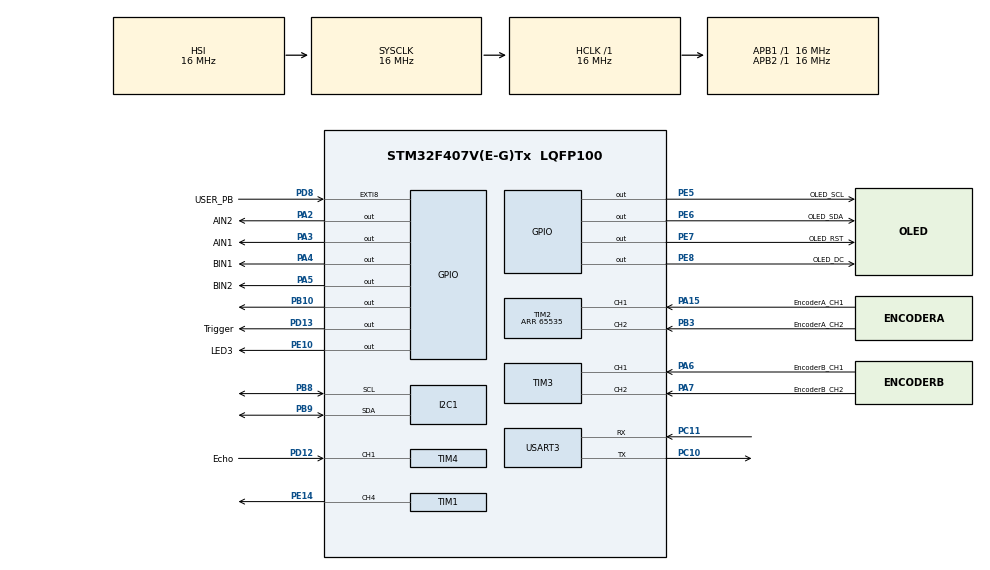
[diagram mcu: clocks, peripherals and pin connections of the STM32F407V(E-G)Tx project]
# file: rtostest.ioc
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FREERTOS.Tasks01=defaultTask,24,128,StartDefaultTask,Default,NULL,Dynamic,NULL,NULL;motorTask,8,128,StartMotorTask,Default,NULL,Dynamic,NULL,NULL;oledTask,8,128,StartOledTask,Default,NULL,Dynamic,NULL,NULL;rpiTask,8,128,StartRpiTask,Default,NULL,Dynamic,NULL,NULL;gyroTask,9,128,StartGyroTask,Default,NULL,Dynamic,NULL,NULL;bulleyesTask,8,128,StartBulleyesTask,Default,NULL,Dynamic,NULL,NULL;encoderRightTas,8,128,StartEncoderRightTask,Default,NULL,Dynamic,NULL,NULL;encoderLeftTask,8,128,StartEncoderLeftTask,Default,NULL,Dynamic,NULL,NULL
FREERTOS.configUSE_NEWLIB_REENTRANT=1
Mcu.Family=STM32F4
Mcu.Name=STM32F407V(E-G)Tx
Mcu.Package=LQFP100
NVIC.PriorityGroup=NVIC_PRIORITYGROUP_4
NVIC.RCC_IRQn=true\:5\:0\:false\:false\:true\:true\:true\:false\:true
NVIC.TIM1_BRK_TIM9_IRQn=true\:5\:0\:false\:false\:true\:false\:false\:true\:true
NVIC.TIM1_UP_TIM10_IRQn=true\:5\:0\:false\:false\:true\:false\:false\:true\:true
NVIC.TIM4_IRQn=true\:5\:0\:false\:false\:true\:true\:true\:true\:true
NVIC.TIM8_TRG_COM_TIM14_IRQn=true\:5\:0\:false\:false\:true\:false\:false\:true\:true
NVIC.USART3_IRQn=true\:5\:0\:false\:false\:true\:true\:true\:true\:true
PA15.GPIO_Label=EncoderA_CH1
PA15.Signal=S_TIM2_CH1_ETR
PA2.GPIO_Label=AIN2
PA2.GPIO_Speed=GPIO_SPEED_FREQ_HIGH
PA2.Signal=GPIO_Output
PA3.GPIO_Label=AIN1
PA3.GPIO_Speed=GPIO_SPEED_FREQ_HIGH
PA3.Signal=GPIO_Output
PA4.GPIO_Label=BIN1
PA4.GPIO_Speed=GPIO_SPEED_FREQ_HIGH
PA4.Signal=GPIO_Output
PA5.GPIO_Label=BIN2
PA5.GPIO_Speed=GPIO_SPEED_FREQ_HIGH
PA5.Signal=GPIO_Output
PA6.GPIO_Label=EncoderB_CH1
PA6.Signal=S_TIM3_CH1
PA7.GPIO_Label=EncoderB_CH2
PA7.Signal=S_TIM3_CH2
PB10.Signal=GPIO_Output
PB3.GPIO_Label=EncoderA_CH2
PB3.Signal=S_TIM2_CH2
PB8.Mode=I2C
PB8.Signal=I2C1_SCL
PB9.Mode=I2C
PB9.Signal=I2C1_SDA
PC10.Mode=Asynchronous
PC10.Signal=USART3_TX
PC11.Mode=Asynchronous
PC11.Signal=USART3_RX
PC6.GPIO_Label=PWMA
PC6.Signal=S_TIM8_CH1
PC7.GPIO_Label=PWMB
PC7.Signal=S_TIM8_CH2
PD12.GPIO_Label=Echo
PD12.Signal=S_TIM4_CH1
PD13.GPIO_Label=Trigger
PD13.Signal=GPIO_Output
PD8.GPIO_Label=USER_PB
PD8.Signal=GPXTI8
PE10.GPIO_Label=LED3
PE10.Signal=GPIO_Output
PE14.Signal=S_TIM1_CH4
PE5.GPIO_Label=OLED_SCL
PE5.Signal=GPIO_Output
PE6.GPIO_Label=OLED_SDA
PE6.Signal=GPIO_Output
PE7.GPIO_Label=OLED_RST
PE7.Signal=GPIO_Output
PE8.GPIO_Label=OLED_DC
PE8.Signal=GPIO_Output
PH0-OSC_IN.Mode=HSE-External-Oscillator
PH0-OSC_IN.Signal=RCC_OSC_IN
PH1-OSC_OUT.Mode=HSE-External-Oscillator
PH1-OSC_OUT.Signal=RCC_OSC_OUT
ProjectManager.HeapSize=0x200
ProjectManager.StackSize=0x400
ProjectManager.TargetToolchain=STM32CubeIDE
RCC.AHBFreq_Value=16000000
RCC.APB1Freq_Value=16000000
RCC.APB2Freq_Value=16000000
RCC.CortexFreq_Value=16000000
RCC.HSE_VALUE=25000000
RCC.HSI_VALUE=16000000
RCC.LSE_VALUE=32768
RCC.SYSCLKFreq_VALUE=16000000
RCC.VCOOutputFreq_Value=192000000
SH.S_TIM1_CH4.0=TIM1_CH4,PWM Generation4 CH4
SH.S_TIM2_CH1_ETR.0=TIM2_CH1,Encoder_Interface
SH.S_TIM2_CH2.0=TIM2_CH2,Encoder_Interface
SH.S_TIM3_CH1.0=TIM3_CH1,Encoder_Interface
SH.S_TIM3_CH2.0=TIM3_CH2,Encoder_Interface
SH.S_TIM4_CH1.0=TIM4_CH1,Input_Capture1_from_TI1
SH.S_TIM8_CH1.0=TIM8_CH1
SH.S_TIM8_CH2.0=TIM8_CH2
TIM1.AutoReloadPreload=TIM_AUTORELOAD_PRELOAD_ENABLE
TIM1.Channel-PWM\ Generation4\ CH4=TIM_CHANNEL_4
TIM1.Period=1000
TIM1.Prescaler=160
TIM2.EncoderMode=TIM_ENCODERMODE_TI12
TIM2.IC1Filter=10
TIM2.IC2Filter=10
TIM2.Period=65535
TIM3.EncoderMode=TIM_ENCODERMODE_TI12
TIM3.IC1Filter=10
TIM3.IC2Filter=10
TIM4.Channel-Input_Capture1_from_TI1=TIM_CHANNEL_1
TIM8.Channel-PWM\ Generation1\ No\ Output=TIM_CHANNEL_1
TIM8.Channel-PWM\ Generation2\ No\ Output=TIM_CHANNEL_2
TIM8.Period=7199
USART3.VirtualMode=VM_ASYNC
VP_FREERTOS_VS_CMSIS_V2.Mode=CMSIS_V2
VP_TIM1_VS_ClockSourceINT.Mode=Internal
VP_TIM8_VS_ClockSourceINT.Mode=Internal
VP_TIM8_VS_no_output1.Mode=PWM Generation1 No Output
VP_TIM8_VS_no_output2.Mode=PWM Generation2 No Output
board=custom

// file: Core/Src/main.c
/* USER CODE BEGIN Header */
/**
  ******************************************************************************
  * @file           : main.c
  * @brief          : Main program body
  ******************************************************************************
  * @attention
  *
  * Copyright (c) 2023 STMicroelectronics.
  * All rights reserved.
  *
  * This software is licensed under terms that can be found in the LICENSE file
  * in the root directory of this software component.
  * If no LICENSE file comes with this software, it is provided AS-IS.
  *
  ******************************************************************************
  */
/* USER CODE END Header */
#include "main.h"
#include "cmsis_os.h"

/* USER CODE BEGIN Includes */
#include "oled.h"

/* USER CODE END Includes */

I2C_HandleTypeDef hi2c1;

TIM_HandleTypeDef htim1;
TIM_HandleTypeDef htim2;
TIM_HandleTypeDef htim3;
TIM_HandleTypeDef htim4;
TIM_HandleTypeDef htim8;

UART_HandleTypeDef huart3;

/* Definitions for defaultTask */
osThreadId_t defaultTaskHandle;
const osThreadAttr_t defaultTask_attributes = {
  .name = "defaultTask",
  .stack_size = 128 * 4,
  .priority = (osPriority_t) osPriorityNormal,
};
/* Definitions for motorTask */
osThreadId_t motorTaskHandle;
const osThreadAttr_t motorTask_attributes = {
  .name = "motorTask",
  .stack_size = 128 * 4,
  .priority = (osPriority_t) osPriorityLow,
};
/* Definitions for oledTask */
osThreadId_t oledTaskHandle;
const osThreadAttr_t oledTask_attributes = {
  .name = "oledTask",
  .stack_size = 128 * 4,
  .priority = (osPriority_t) osPriorityLow,
};
/* Definitions for rpiTask */
osThreadId_t rpiTaskHandle;
const osThreadAttr_t rpiTask_attributes = {
  .name = "rpiTask",
  .stack_size = 128 * 4,
  .priority = (osPriority_t) osPriorityLow,
};
/* Definitions for gyroTask */
osThreadId_t gyroTaskHandle;
const osThreadAttr_t gyroTask_attributes = {
  .name = "gyroTask",
  .stack_size = 128 * 4,
  .priority = (osPriority_t) osPriorityLow1,
};
/* Definitions for bulleyesTask */
osThreadId_t bulleyesTaskHandle;
const osThreadAttr_t bulleyesTask_attributes = {
  .name = "bulleyesTask",
  .stack_size = 128 * 4,
  .priority = (osPriority_t) osPriorityLow,
};
/* Definitions for encoderRightTas */
osThreadId_t encoderRightTasHandle;
const osThreadAttr_t encoderRightTas_attributes = {
  .name = "encoderRightTas",
  .stack_size = 128 * 4,
  .priority = (osPriority_t) osPriorityLow,
};
/* Definitions for encoderLeftTask */
osThreadId_t encoderLeftTaskHandle;
const osThreadAttr_t encoderLeftTask_attributes = {
  .name = "encoderLeftTask",
  .stack_size = 128 * 4,
  .priority = (osPriority_t) osPriorityLow,
};

void SystemClock_Config(void);
static void MX_GPIO_Init(void);
static void MX_TIM1_Init(void);
static void MX_TIM2_Init(void);
static void MX_TIM3_Init(void);
static void MX_TIM8_Init(void);
static void MX_USART3_UART_Init(void);
static void MX_I2C1_Init(void);
static void MX_TIM4_Init(void);
void StartDefaultTask(void *argument);
void StartMotorTask(void *argument);
void StartOledTask(void *argument);
void StartRpiTask(void *argument);
void StartGyroTask(void *argument);
void StartBulleyesTask(void *argument);
void StartEncoderRightTask(void *argument);
void StartEncoderLeftTask(void *argument);

/* USER CODE BEGIN 0 */

// communication
uint8_t aRxBuffer[20] = {0};
uint8_t old_Buff[20] = {0};
uint8_t old_Buff1[20] = {0};

int flagDone = 0;
char key;
char direction;
int magnitude = 0;
int flagRead = 0;
int flagWrite = 0;

// movement
uint16_t pwmVal_servo = 149;
uint16_t pwmVal_R = 0;
uint16_t pwmVal_L = 0;
int times_acceptable=0;
int e_brake = 0;

// MotorEncoder
int32_t rightEncoderVal = 0, leftEncoderVal = 0;
int32_t rightTarget = 0, leftTarget = 0;
double target_angle=0;

// Gyro
double total_angle=0;
uint8_t gyroBuffer[20];
uint8_t ICMAddress = 0x68;

// Oled
char instructBuffer[40][5]={0};

//UserButton
int start = 0;

//Ultrasound
int Is_First_Captured = 0;
int32_t IC_Val1 = 0;
int32_t IC_Val2 = 0;
double Difference =0;
double uDistance = 0;

/* USER CODE END 0 */

int main(void)
{

  /* MCU Configuration--------------------------------------------------------*/

  /* Reset of all peripherals, Initializes the Flash interface and the Systick. */
  HAL_Init();

  /* Configure the system clock */
  SystemClock_Config();

  /* Initialize all configured peripherals */
  MX_GPIO_Init();
  MX_TIM1_Init();
  MX_TIM2_Init();
  MX_TIM3_Init();
  MX_TIM8_Init();
  MX_USART3_UART_Init();
  MX_I2C1_Init();
  MX_TIM4_Init();
  /* USER CODE BEGIN 2 */
  OLED_Init();

  // for debug
  //HAL_UART_Receive_IT(&huart3, (uint8_t *) aRxBuffer, 1);
  // for real task
  HAL_UART_Receive_IT(&huart3, (uint8_t *) aRxBuffer, 5);

//  defaultTaskHandle = osThreadNew(StartDefaultTask, NULL, &defaultTask_attributes);
//
//  /* creation of MotorTask */
//  motorTaskHandle = osThreadNew(StartMotorTask, NULL, &motorTask_attributes);
//
//  /* creation of oledTask */
//  oledTaskHandle = osThreadNew(StartOledTask, NULL, &oledTask_attributes);
//
//  /* creation of rpiTask */
//  rpiTaskHandle = osTreadNew(StartRpiTask, NULL, &rpiTask_attributes);
//
//  /* creation of gyroTask */
//  gyroTaskHandle = osTreadNew(StartGyroTask, NULL, &gyroTask_attributes);
//
//  /* creation of bulleyesTask */
//  bulleyesTaskHandle = osThreadNew(StartBulleyesTask, NULL, &bulleyesTask_attributes);
//
//	/* creation of encoderRightTask */
//	encoderRightTasHandle = osThreadNew(StartEncoderRightTask, NULL, &encoderRightTas_attributes);
//
//  /* creation of encoderLeftTask */
//  encoderLeftTaskHandle = osThreadNew(StartEncoderLeftTask, NULL, &encoderLeftTask_attributes);

    defaultTaskHandle = osThreadNew(StartDefaultTask, NULL, &defaultTask_attributes);

    /* creation of MotorTask */
    motorTaskHandle = osThreadNew(StartMotorTask, NULL, &motorTask_attributes);

    /* creation of oledTask */
    oledTaskHandle = osThreadNew(StartOledTask, NULL, &oledTask_attributes);

    /* creation of rpiTask */
    rpiTaskHandle = osThreadNew(StartRpiTask, NULL, &rpiTask_attributes);

    /* creation of gyroTask */
    gyroTaskHandle = osThreadNew(StartGyroTask, NULL, &gyroTask_attributes);

    /* creation of bulleyesTask */
    bulleyesTaskHandle = osThreadNew(StartBulleyesTask, NULL, &bulleyesTask_attributes);

	/* creation of encoderRightTas */
	encoderRightTasHandle = osThreadNew(StartEncoderRightTask, NULL, &encoderRightTas_attributes);

	/* creation of encoderLeftTask */
	encoderLeftTaskHandle = osThreadNew(StartEncoderLeftTask, NULL, &encoderLeftTask_attributes);

  /* USER CODE END 2 */

  /* Init scheduler */
  osKernelInitialize();
/* USER CODE BEGIN Header */
/**
  ******************************************************************************
  * @file           : main.c
  * @brief          : Main program body
  ******************************************************************************
  * @attention
  *
  * Copyright (c) 2023 STMicroelectronics.
  * All rights reserved.
  *
  * This software is licensed under terms that can be found in the LICENSE file
  * in the root directory of this software component.
  * If no LICENSE file comes with this software, it is provided AS-IS.
  *
  ******************************************************************************
  */
/* USER CODE END Header */

  /* Start scheduler */
  osKernelStart();

  /* We should never get here as control is now taken by the scheduler */
  /* Infinite loop */
  while (1)
  {

  }
}

void SystemClock_Config(void)
{
  RCC_OscInitTypeDef RCC_OscInitStruct = {0};
  RCC_ClkInitTypeDef RCC_ClkInitStruct = {0};

  /** Configure the main internal regulator output voltage
  */
  __HAL_RCC_PWR_CLK_ENABLE();
  __HAL_PWR_VOLTAGESCALING_CONFIG(PWR_REGULATOR_VOLTAGE_SCALE1);

  /** Initializes the RCC Oscillators according to the specified parameters
  * in the RCC_OscInitTypeDef structure.
  */
  RCC_OscInitStruct.OscillatorType = RCC_OSCILLATORTYPE_HSI;
  RCC_OscInitStruct.HSIState = RCC_HSI_ON;
  RCC_OscInitStruct.HSICalibrationValue = RCC_HSICALIBRATION_DEFAULT;
  RCC_OscInitStruct.PLL.PLLState = RCC_PLL_NONE;
  if (HAL_RCC_OscConfig(&RCC_OscInitStruct) != HAL_OK)
  {
    Error_Handler();
  }

  /** Initializes the CPU, AHB and APB buses clocks
  */
  RCC_ClkInitStruct.ClockType = RCC_CLOCKTYPE_HCLK|RCC_CLOCKTYPE_SYSCLK
                              |RCC_CLOCKTYPE_PCLK1|RCC_CLOCKTYPE_PCLK2;
  RCC_ClkInitStruct.SYSCLKSource = RCC_SYSCLKSOURCE_HSI;
  RCC_ClkInitStruct.AHBCLKDivider = RCC_SYSCLK_DIV1;
  RCC_ClkInitStruct.APB1CLKDivider = RCC_HCLK_DIV1;
  RCC_ClkInitStruct.APB2CLKDivider = RCC_HCLK_DIV1;

  if (HAL_RCC_ClockConfig(&RCC_ClkInitStruct, FLASH_LATENCY_0) != HAL_OK)
  {
    Error_Handler();
  }
}

static void MX_I2C1_Init(void)
{

  hi2c1.Instance = I2C1;
  hi2c1.Init.ClockSpeed = 100000;
  hi2c1.Init.DutyCycle = I2C_DUTYCYCLE_2;
  hi2c1.Init.OwnAddress1 = 0;
  hi2c1.Init.AddressingMode = I2C_ADDRESSINGMODE_7BIT;
  hi2c1.Init.DualAddressMode = I2C_DUALADDRESS_DISABLE;
  hi2c1.Init.OwnAddress2 = 0;
  hi2c1.Init.GeneralCallMode = I2C_GENERALCALL_DISABLE;
  hi2c1.Init.NoStretchMode = I2C_NOSTRETCH_DISABLE;
  if (HAL_I2C_Init(&hi2c1) != HAL_OK)
  {
    Error_Handler();
  }

}

static void MX_TIM1_Init(void)
{

  TIM_ClockConfigTypeDef sClockSourceConfig = {0};
  TIM_MasterConfigTypeDef sMasterConfig = {0};
  TIM_OC_InitTypeDef sConfigOC = {0};
  TIM_BreakDeadTimeConfigTypeDef sBreakDeadTimeConfig = {0};

  htim1.Instance = TIM1;
  htim1.Init.Prescaler = 160;
  htim1.Init.CounterMode = TIM_COUNTERMODE_UP;
  htim1.Init.Period = 1000;
  htim1.Init.ClockDivision = TIM_CLOCKDIVISION_DIV1;
  htim1.Init.RepetitionCounter = 0;
  htim1.Init.AutoReloadPreload = TIM_AUTORELOAD_PRELOAD_ENABLE;
  if (HAL_TIM_Base_Init(&htim1) != HAL_OK)
  {
    Error_Handler();
  }
  sClockSourceConfig.ClockSource = TIM_CLOCKSOURCE_INTERNAL;
  if (HAL_TIM_ConfigClockSource(&htim1, &sClockSourceConfig) != HAL_OK)
  {
    Error_Handler();
  }
  if (HAL_TIM_PWM_Init(&htim1) != HAL_OK)
  {
    Error_Handler();
  }
  sMasterConfig.MasterOutputTrigger = TIM_TRGO_RESET;
  sMasterConfig.MasterSlaveMode = TIM_MASTERSLAVEMODE_DISABLE;
  if (HAL_TIMEx_MasterConfigSynchronization(&htim1, &sMasterConfig) != HAL_OK)
  {
    Error_Handler();
  }
  sConfigOC.OCMode = TIM_OCMODE_PWM1;
  sConfigOC.Pulse = 0;
  sConfigOC.OCPolarity = TIM_OCPOLARITY_HIGH;
  sConfigOC.OCFastMode = TIM_OCFAST_DISABLE;
  sConfigOC.OCIdleState = TIM_OCIDLESTATE_RESET;
  sConfigOC.OCNIdleState = TIM_OCNIDLESTATE_RESET;
  if (HAL_TIM_PWM_ConfigChannel(&htim1, &sConfigOC, TIM_CHANNEL_4) != HAL_OK)
  {
    Error_Handler();
  }
  sBreakDeadTimeConfig.OffStateRunMode = TIM_OSSR_DISABLE;
  sBreakDeadTimeConfig.OffStateIDLEMode = TIM_OSSI_DISABLE;
  sBreakDeadTimeConfig.LockLevel = TIM_LOCKLEVEL_OFF;
  sBreakDeadTimeConfig.DeadTime = 0;
  sBreakDeadTimeConfig.BreakState = TIM_BREAK_DISABLE;
  sBreakDeadTimeConfig.BreakPolarity = TIM_BREAKPOLARITY_HIGH;
  sBreakDeadTimeConfig.AutomaticOutput = TIM_AUTOMATICOUTPUT_DISABLE;
  if (HAL_TIMEx_ConfigBreakDeadTime(&htim1, &sBreakDeadTimeConfig) != HAL_OK)
  {
    Error_Handler();
  }
  HAL_TIM_MspPostInit(&htim1);

}

static void MX_TIM2_Init(void)
{

  TIM_Encoder_InitTypeDef sConfig = {0};
  TIM_MasterConfigTypeDef sMasterConfig = {0};

  htim2.Instance = TIM2;
  htim2.Init.Prescaler = 0;
  htim2.Init.CounterMode = TIM_COUNTERMODE_UP;
  htim2.Init.Period = 65535;
  htim2.Init.ClockDivision = TIM_CLOCKDIVISION_DIV1;
  htim2.Init.AutoReloadPreload = TIM_AUTORELOAD_PRELOAD_DISABLE;
  sConfig.EncoderMode = TIM_ENCODERMODE_TI12;
  sConfig.IC1Polarity = TIM_ICPOLARITY_RISING;
  sConfig.IC1Selection = TIM_ICSELECTION_DIRECTTI;
  sConfig.IC1Prescaler = TIM_ICPSC_DIV1;
  sConfig.IC1Filter = 10;
  sConfig.IC2Polarity = TIM_ICPOLARITY_RISING;
  sConfig.IC2Selection = TIM_ICSELECTION_DIRECTTI;
  sConfig.IC2Prescaler = TIM_ICPSC_DIV1;
  sConfig.IC2Filter = 10;
  if (HAL_TIM_Encoder_Init(&htim2, &sConfig) != HAL_OK)
  {
    Error_Handler();
  }
  sMasterConfig.MasterOutputTrigger = TIM_TRGO_RESET;
  sMasterConfig.MasterSlaveMode = TIM_MASTERSLAVEMODE_DISABLE;
  if (HAL_TIMEx_MasterConfigSynchronization(&htim2, &sMasterConfig) != HAL_OK)
  {
    Error_Handler();
  }

}

static void MX_TIM3_Init(void)
{

  TIM_Encoder_InitTypeDef sConfig = {0};
  TIM_MasterConfigTypeDef sMasterConfig = {0};

  htim3.Instance = TIM3;
  htim3.Init.Prescaler = 0;
  htim3.Init.CounterMode = TIM_COUNTERMODE_UP;
  htim3.Init.Period = 65535;
  htim3.Init.ClockDivision = TIM_CLOCKDIVISION_DIV1;
  htim3.Init.AutoReloadPreload = TIM_AUTORELOAD_PRELOAD_DISABLE;
  sConfig.EncoderMode = TIM_ENCODERMODE_TI12;
  sConfig.IC1Polarity = TIM_ICPOLARITY_RISING;
  sConfig.IC1Selection = TIM_ICSELECTION_DIRECTTI;
  sConfig.IC1Prescaler = TIM_ICPSC_DIV1;
  sConfig.IC1Filter = 10;
  sConfig.IC2Polarity = TIM_ICPOLARITY_RISING;
  sConfig.IC2Selection = TIM_ICSELECTION_DIRECTTI;
  sConfig.IC2Prescaler = TIM_ICPSC_DIV1;
  sConfig.IC2Filter = 10;
  if (HAL_TIM_Encoder_Init(&htim3, &sConfig) != HAL_OK)
  {
    Error_Handler();
  }
  sMasterConfig.MasterOutputTrigger = TIM_TRGO_RESET;
  sMasterConfig.MasterSlaveMode = TIM_MASTERSLAVEMODE_DISABLE;
  if (HAL_TIMEx_MasterConfigSynchronization(&htim3, &sMasterConfig) != HAL_OK)
  {
    Error_Handler();
  }

}

static void MX_TIM4_Init(void)
{

  TIM_MasterConfigTypeDef sMasterConfig = {0};
  TIM_IC_InitTypeDef sConfigIC = {0};

  htim4.Instance = TIM4;
  htim4.Init.Prescaler = 16-1;
  htim4.Init.CounterMode = TIM_COUNTERMODE_UP;
  htim4.Init.Period = 65535;
  htim4.Init.ClockDivision = TIM_CLOCKDIVISION_DIV1;
  htim4.Init.AutoReloadPreload = TIM_AUTORELOAD_PRELOAD_DISABLE;
  if (HAL_TIM_IC_Init(&htim4) != HAL_OK)
  {
    Error_Handler();
  }
  sMasterConfig.MasterOutputTrigger = TIM_TRGO_RESET;
  sMasterConfig.MasterSlaveMode = TIM_MASTERSLAVEMODE_DISABLE;
  if (HAL_TIMEx_MasterConfigSynchronization(&htim4, &sMasterConfig) != HAL_OK)
  {
    Error_Handler();
  }
  sConfigIC.ICPolarity = TIM_INPUTCHANNELPOLARITY_RISING;
  sConfigIC.ICSelection = TIM_ICSELECTION_DIRECTTI;
  sConfigIC.ICPrescaler = TIM_ICPSC_DIV1;
  sConfigIC.ICFilter = 0;
  if (HAL_TIM_IC_ConfigChannel(&htim4, &sConfigIC, TIM_CHANNEL_1) != HAL_OK)
  {
    Error_Handler();
  }

}

static void MX_TIM8_Init(void)
{

  TIM_ClockConfigTypeDef sClockSourceConfig = {0};
  TIM_MasterConfigTypeDef sMasterConfig = {0};
  TIM_OC_InitTypeDef sConfigOC = {0};
  TIM_BreakDeadTimeConfigTypeDef sBreakDeadTimeConfig = {0};

  htim8.Instance = TIM8;
  htim8.Init.Prescaler = 0;
  htim8.Init.CounterMode = TIM_COUNTERMODE_UP;
  htim8.Init.Period = 7199;
  htim8.Init.ClockDivision = TIM_CLOCKDIVISION_DIV1;
  htim8.Init.RepetitionCounter = 0;
  htim8.Init.AutoReloadPreload = TIM_AUTORELOAD_PRELOAD_DISABLE;
  if (HAL_TIM_Base_Init(&htim8) != HAL_OK)
  {
    Error_Handler();
  }
  sClockSourceConfig.ClockSource = TIM_CLOCKSOURCE_INTERNAL;
  if (HAL_TIM_ConfigClockSource(&htim8, &sClockSourceConfig) != HAL_OK)
  {
    Error_Handler();
  }
  if (HAL_TIM_PWM_Init(&htim8) != HAL_OK)
  {
    Error_Handler();
  }
  sMasterConfig.MasterOutputTrigger = TIM_TRGO_RESET;
  sMasterConfig.MasterSlaveMode = TIM_MASTERSLAVEMODE_DISABLE;
  if (HAL_TIMEx_MasterConfigSynchronization(&htim8, &sMasterConfig) != HAL_OK)
  {
    Error_Handler();
  }
  sConfigOC.OCMode = TIM_OCMODE_PWM1;
  sConfigOC.Pulse = 0;
  sConfigOC.OCPolarity = TIM_OCPOLARITY_HIGH;
  sConfigOC.OCNPolarity = TIM_OCNPOLARITY_HIGH;
  sConfigOC.OCFastMode = TIM_OCFAST_DISABLE;
  sConfigOC.OCIdleState = TIM_OCIDLESTATE_RESET;
  sConfigOC.OCNIdleState = TIM_OCNIDLESTATE_RESET;
  if (HAL_TIM_PWM_ConfigChannel(&htim8, &sConfigOC, TIM_CHANNEL_1) != HAL_OK)
  {
    Error_Handler();
  }
  if (HAL_TIM_PWM_ConfigChannel(&htim8, &sConfigOC, TIM_CHANNEL_2) != HAL_OK)
  {
    Error_Handler();
  }
  sBreakDeadTimeConfig.OffStateRunMode = TIM_OSSR_DISABLE;
  sBreakDeadTimeConfig.OffStateIDLEMode = TIM_OSSI_DISABLE;
  sBreakDeadTimeConfig.LockLevel = TIM_LOCKLEVEL_OFF;
  sBreakDeadTimeConfig.DeadTime = 0;
  sBreakDeadTimeConfig.BreakState = TIM_BREAK_DISABLE;
  sBreakDeadTimeConfig.BreakPolarity = TIM_BREAKPOLARITY_HIGH;
  sBreakDeadTimeConfig.AutomaticOutput = TIM_AUTOMATICOUTPUT_DISABLE;
  if (HAL_TIMEx_ConfigBreakDeadTime(&htim8, &sBreakDeadTimeConfig) != HAL_OK)
  {
    Error_Handler();
  }

}

static void MX_USART3_UART_Init(void)
{

  huart3.Instance = USART3;
  huart3.Init.BaudRate = 115200;
  huart3.Init.WordLength = UART_WORDLENGTH_8B;
  huart3.Init.StopBits = UART_STOPBITS_1;
  huart3.Init.Parity = UART_PARITY_NONE;
  huart3.Init.Mode = UART_MODE_TX_RX;
  huart3.Init.HwFlowCtl = UART_HWCONTROL_NONE;
  huart3.Init.OverSampling = UART_OVERSAMPLING_16;
  if (HAL_UART_Init(&huart3) != HAL_OK)
  {
    Error_Handler();
  }

}

static void MX_GPIO_Init(void)
{
  GPIO_InitTypeDef GPIO_InitStruct = {0};

  /* GPIO Ports Clock Enable */
  __HAL_RCC_GPIOE_CLK_ENABLE();
  __HAL_RCC_GPIOH_CLK_ENABLE();
  __HAL_RCC_GPIOA_CLK_ENABLE();
  __HAL_RCC_GPIOB_CLK_ENABLE();
  __HAL_RCC_GPIOD_CLK_ENABLE();
  __HAL_RCC_GPIOC_CLK_ENABLE();

  /*Configure GPIO pin Output Level */
  HAL_GPIO_WritePin(GPIOE, OLED_SCL_Pin|OLED_SDA_Pin|OLED_RST_Pin|OLED_DC_Pin
                          |LED3_Pin, GPIO_PIN_RESET);

  /*Configure GPIO pin Output Level */
  HAL_GPIO_WritePin(GPIOA, AIN2_Pin|AIN1_Pin|BIN1_Pin|BIN2_Pin, GPIO_PIN_RESET);

  /*Configure GPIO pin Output Level */
  HAL_GPIO_WritePin(GPIOB, GPIO_PIN_10, GPIO_PIN_RESET);

  /*Configure GPIO pin Output Level */
  HAL_GPIO_WritePin(Trigger_GPIO_Port, Trigger_Pin, GPIO_PIN_RESET);

  /*Configure GPIO pins : OLED_SCL_Pin OLED_SDA_Pin OLED_RST_Pin OLED_DC_Pin
                           LED3_Pin */
  GPIO_InitStruct.Pin = OLED_SCL_Pin|OLED_SDA_Pin|OLED_RST_Pin|OLED_DC_Pin
                          |LED3_Pin;
  GPIO_InitStruct.Mode = GPIO_MODE_OUTPUT_PP;
  GPIO_InitStruct.Pull = GPIO_NOPULL;
  GPIO_InitStruct.Speed = GPIO_SPEED_FREQ_LOW;
  HAL_GPIO_Init(GPIOE, &GPIO_InitStruct);

  /*Configure GPIO pins : AIN2_Pin AIN1_Pin BIN1_Pin BIN2_Pin */
  GPIO_InitStruct.Pin = AIN2_Pin|AIN1_Pin|BIN1_Pin|BIN2_Pin;
  GPIO_InitStruct.Mode = GPIO_MODE_OUTPUT_PP;
  GPIO_InitStruct.Pull = GPIO_NOPULL;
  GPIO_InitStruct.Speed = GPIO_SPEED_FREQ_HIGH;
  HAL_GPIO_Init(GPIOA, &GPIO_InitStruct);

  /*Configure GPIO pin : PB10 */
  GPIO_InitStruct.Pin = GPIO_PIN_10;
  GPIO_InitStruct.Mode = GPIO_MODE_OUTPUT_PP;
  GPIO_InitStruct.Pull = GPIO_NOPULL;
  GPIO_InitStruct.Speed = GPIO_SPEED_FREQ_LOW;
  HAL_GPIO_Init(GPIOB, &GPIO_InitStruct);

  /*Configure GPIO pin : USER_PB_Pin */
  GPIO_InitStruct.Pin = USER_PB_Pin;
  GPIO_InitStruct.Mode = GPIO_MODE_IT_RISING;
  GPIO_InitStruct.Pull = GPIO_NOPULL;
  HAL_GPIO_Init(USER_PB_GPIO_Port, &GPIO_InitStruct);

  /*Configure GPIO pin : Trigger_Pin */
  GPIO_InitStruct.Pin = Trigger_Pin;
  GPIO_InitStruct.Mode = GPIO_MODE_OUTPUT_PP;
  GPIO_InitStruct.Pull = GPIO_NOPULL;
  GPIO_InitStruct.Speed = GPIO_SPEED_FREQ_LOW;
  HAL_GPIO_Init(Trigger_GPIO_Port, &GPIO_InitStruct);

}

/* USER CODE BEGIN 4 */
void HAL_UART_RxCpltCallback(UART_HandleTypeDef *huart)
{
	/* to prevent unused argument(s) compilation warning */
	UNUSED(huart);

	//mutex
	//while(flagRead);
	//flagWrite = 1;
	HAL_UART_Receive_IT (&huart3, aRxBuffer, 5);
	//flagWrite = 0;
}

void HAL_GPIO_EXTI_Callback( uint16_t GPIO_Pin ) {
	if (GPIO_Pin == USER_PB_Pin) {
		if (start == 0){
			start = 1;
		    }
		else
			start = 0;
 	    }
}

void delay(uint16_t time)
{
 __HAL_TIM_SET_COUNTER(&htim4, 0);
 while (__HAL_TIM_GET_COUNTER (&htim4) < time);
}

void HAL_TIM_IC_CaptureCallback(TIM_HandleTypeDef *htim)
{
 if (htim->Channel == HAL_TIM_ACTIVE_CHANNEL_1)
 {
  if (Is_First_Captured == 0)
  {
   IC_Val1 = HAL_TIM_ReadCapturedValue(htim, TIM_CHANNEL_1);
   Is_First_Captured = 1;
   __HAL_TIM_SET_CAPTUREPOLARITY(htim, TIM_CHANNEL_1, TIM_INPUTCHANNELPOLARITY_FALLING);
  }
  else if (Is_First_Captured == 1)
  {
   IC_Val2 = HAL_TIM_ReadCapturedValue(htim, TIM_CHANNEL_1);
   __HAL_TIM_SET_COUNTER(htim,0);

   if (IC_Val2 > IC_Val1)
   {
    Difference = IC_Val2 - IC_Val1;
   }

   else if (IC_Val1 > IC_Val2)
   {
    Difference = (65535 - IC_Val1) + IC_Val2;
   }

   uDistance = Difference * .0343/2;

   Is_First_Captured = 0;

   __HAL_TIM_SET_CAPTUREPOLARITY(htim, TIM_CHANNEL_1, TIM_INPUTCHANNELPOLARITY_RISING);
   __HAL_TIM_DISABLE_IT(&htim4, TIM_IT_CC1);
  }
 }
}

void HCSR04_Read (void) //Call when want to get reading from US
{
 HAL_GPIO_WritePin(GPIOD, GPIO_PIN_13, GPIO_PIN_SET);
 delay(10);
 HAL_GPIO_WritePin(GPIOD, GPIO_PIN_13, GPIO_PIN_RESET);
 __HAL_TIM_ENABLE_IT(&htim4, TIM_IT_CC1);
}

void buzzerBeep()
{
	HAL_GPIO_TogglePin(GPIOB, GPIO_PIN_10); //Buzzer On
	HAL_Delay(500);
	HAL_GPIO_TogglePin(GPIOB, GPIO_PIN_10); //Buzzer Off
}

void moveCarStraight(double distance)
{
	distance = distance*75;
	pwmVal_servo = 149;
	osDelay(50); //og 500
	e_brake = 0;
	times_acceptable=0;
	rightEncoderVal = 75000;
	leftEncoderVal = 75000;
	rightTarget = 75000;
	leftTarget = 75000;
	rightTarget += distance;
	leftTarget += distance;
}

void moveCarStop()
{
	e_brake = 0;
	pwmVal_servo = 149;
	osDelay(30); //og 300
}

void moveCarRight(double angle)
{
	pwmVal_servo = 230;
	osDelay(50); //og 500
	e_brake = 0;
	times_acceptable=0;
	target_angle -= angle;
}

void moveCarLeft(double angle)
{
	pwmVal_servo = 98;
	osDelay(50); //og 500
	e_brake = 0;
	times_acceptable=0;
	target_angle += angle;
}

void moveCarSlideRight(int forward){
	int sign;
	if(forward == 1){
		sign = 1;
	}else{
		sign = -1;
	}
	e_brake = 0;
	times_acceptable=0;

	if (sign>0) moveCarStraight((450/75.19)*sign);
	else moveCarStraight((540/75.19)*sign);

	while(finishCheck());
	osDelay(50); //og 500
	times_acceptable=0;

	if (sign>0) moveCarRight(29*sign);
	else moveCarRight(29*sign);

	while(finishCheck());
	osDelay(50);
	times_acceptable=0;

	if (sign>0) moveCarLeft(29*sign);
	else moveCarLeft(29*sign);

	while(finishCheck());
	osDelay(50); //og 500
}

void moveCarSlideLeft(int forward){
	int sign;
	if(forward == 1){
		sign = 1;
	}else{
		sign = -1;
	}
	e_brake = 0;
	times_acceptable=0;

	if (sign>0) moveCarStraight((560/75.19)*sign); //600,36
	else moveCarStraight((700/75.19)*sign);

	while(finishCheck());
	osDelay(50); //og 500
	times_acceptable=0;

	if (sign>0) moveCarLeft(29*sign);
	else moveCarLeft(29*sign);

	while(finishCheck());
	osDelay(50);
	times_acceptable=0;

	if (sign>0) moveCarRight(29*sign);
	else moveCarRight(29*sign);

	while(finishCheck());
	osDelay(50); //og 500
}

void moveCarRight90(double angle)
{
	e_brake = 0;
	int sign = 1;
	if(angle<0){
		sign=-1;
	}
	pwmVal_servo = 149; //149
	times_acceptable=0;

	if (sign>0) moveCarStraight(sign*3);
	else moveCarStraight(sign*-12);

	while(finishCheck());
	osDelay(50); //og 500
	times_acceptable=0;
	moveCarRight(sign*90);
	while(finishCheck());
	osDelay(50);
	times_acceptable=0;

	if (sign>0)moveCarStraight(sign*-10);
	else moveCarStraight(sign*4);

	while(finishCheck());
	osDelay(50); //og 500
}

void moveCarLeft90(double angle)
{
	e_brake = 0;
	int sign = 1;
	if(angle<0){
		sign=-1;
	}
	pwmVal_servo = 149; //149
	times_acceptable=0;

	if (sign>0) moveCarStraight(sign*6);
	else moveCarStraight(sign*-5);

	while(finishCheck());
	osDelay(50); //og 500
	times_acceptable=0;
	moveCarLeft(sign*90);
	while(finishCheck());
	osDelay(50);
	times_acceptable=0;

	if (angle>0) moveCarStraight(sign*-4);
	else moveCarStraight(sign*6);

	while(finishCheck());
	osDelay(50); //og 500
}

int PID_Control(int error, int right)
{
	if(right){//rightMotor
		if(error>0){//go forward
			HAL_GPIO_WritePin(GPIOA, BIN1_Pin, GPIO_PIN_SET); // set direction of rotation for wheel B- forward
			HAL_GPIO_WritePin(GPIOA, BIN2_Pin, GPIO_PIN_RESET);
		}else{//go backward
		    HAL_GPIO_WritePin(GPIOA, BIN1_Pin, GPIO_PIN_RESET); // set direction of rotation for wheel B - reverse
			HAL_GPIO_WritePin(GPIOA, BIN2_Pin, GPIO_PIN_SET);
		}
	}else{//leftMotor
		if(error>0){//go forward
			HAL_GPIO_WritePin(GPIOA, AIN1_Pin, GPIO_PIN_SET); // set direction of rotation for wheel A - forward
			HAL_GPIO_WritePin(GPIOA, AIN2_Pin, GPIO_PIN_RESET);
		}else{//go backward
		    HAL_GPIO_WritePin(GPIOA, AIN1_Pin, GPIO_PIN_RESET); // set direction of rotation for wheel A - reverse
			HAL_GPIO_WritePin(GPIOA, AIN2_Pin, GPIO_PIN_SET);
		}
	}

	error = abs(error);
	if(error > 2000){
		return 3000;
	}else if(error > 500){
		return 2000;
	}else if(error > 200){
		return 1400;
	}else if(error > 100){
		return 1000;
	}else if(error > 2){
		times_acceptable++;
		return 500;
	}else if(error >=1){
		times_acceptable++;
		return 0;
	}else{
		times_acceptable++;
		return 0;
	}
}

int PID_Angle(double errord, int right)
{
	int error = (int)(errord*10);
	if(right){//rightMotor
		if(error>0){//go forward
			HAL_GPIO_WritePin(GPIOA, BIN1_Pin, GPIO_PIN_SET); // set direction of rotation for wheel B- forward
			HAL_GPIO_WritePin(GPIOA, BIN2_Pin, GPIO_PIN_RESET);
		}else{//go backward
		    HAL_GPIO_WritePin(GPIOA, BIN1_Pin, GPIO_PIN_RESET); // set direction of rotation for wheel B - reverse
			HAL_GPIO_WritePin(GPIOA, BIN2_Pin, GPIO_PIN_SET);
		}
	}else{//leftMotor
		if(error<0){//go forward
			HAL_GPIO_WritePin(GPIOA, AIN1_Pin, GPIO_PIN_SET); // set direction of rotation for wheel A - forward
			HAL_GPIO_WritePin(GPIOA, AIN2_Pin, GPIO_PIN_RESET);
		}else{//go backward
		    HAL_GPIO_WritePin(GPIOA, AIN1_Pin, GPIO_PIN_RESET); // set direction of rotation for wheel A - reverse
			HAL_GPIO_WritePin(GPIOA, AIN2_Pin, GPIO_PIN_SET);
		}
	}

	error = abs(error);
	if(error > 300){
		return 3000;
	}else if(error > 200){
		return 2000;
	}else if(error > 150){
		return 1600;
	}else if(error > 100){
		return 1400;
	}else if(error >10){
		return 1000;
	}else if(error >=2){
		times_acceptable++;
		return 600;
	}else{
		times_acceptable++;
		return 0;
	}
}

int finishCheck(){
	if (times_acceptable > 20){
		e_brake = 1;
		pwmVal_L = pwmVal_R = 0;
		leftTarget = leftEncoderVal;
		rightTarget = rightEncoderVal;
		times_acceptable = 0;
	    osDelay(30); //og 300

		return 0;
	}
	return 1;
}

void readByte(uint8_t addr, uint8_t* data){
	gyroBuffer[0] = addr;
	HAL_I2C_Master_Transmit(&hi2c1, ICMAddress<<1, gyroBuffer, 1, 10);
	HAL_I2C_Master_Receive(&hi2c1, ICMAddress<<1, data, 2, 20);
}

void writeByte(uint8_t addr, uint8_t data){
	gyroBuffer[0] = addr;
	gyroBuffer[1] = data;
	HAL_I2C_Master_Transmit(&hi2c1, ICMAddress << 1, gyroBuffer, 2, 20);
}

void gyroInit(){
	writeByte(0x06, 0x00);
	osDelay(10);
	writeByte(0x03, 0x80);
	osDelay(10);
	writeByte(0x07, 0x07);
	osDelay(10);
	writeByte(0x06, 0x01);
	osDelay(10);
	writeByte(0x7F, 0x20);
	osDelay(10);
	writeByte(0x01, 0x2F);
	osDelay(10);
	writeByte(0x0, 0x00);
	osDelay(10);
	writeByte(0x7F, 0x00);
	osDelay(10);
	writeByte(0x07, 0x00);
	osDelay(10);
}
/* USER CODE END 4 */

void StartDefaultTask(void *argument)
{
  /* USER CODE BEGIN 5 */
	uint8_t msg [20];
	HAL_TIM_IC_Start_IT(&htim4,TIM_CHANNEL_1);  // HC-SR04 Sensor

  /* Infinite loop */
  uint8_t ch = 'A';
  for(;;)
  {
	    //HAL_UART_Transmit(&huart3, (uint8_t *)&ch, 1,0xFFFF);
//	    sprintf(msg, "%c    \0", ch);
//	    if (ch <'F'){
//	    	ch++;
//	    }else{
//	    	ch = 'A';
//	    }
	    osDelay(200); //og 2000

		HAL_GPIO_TogglePin(LED3_GPIO_Port,LED3_Pin);

  }
  /* USER CODE END 5 */
}

void StartMotorTask(void *argument)
{
  /* USER CODE BEGIN StartMotorTask */
	pwmVal_R = 0;
	pwmVal_L = 0;
	int straightCorrection=0;
	HAL_TIM_PWM_Start(&htim8, TIM_CHANNEL_1);
	HAL_TIM_PWM_Start(&htim8, TIM_CHANNEL_2);
	HAL_TIM_PWM_Start(&htim1, TIM_CHANNEL_4);
	htim1.Instance->CCR4 = 149; //Centre

	HAL_GPIO_WritePin(GPIOA, BIN1_Pin, GPIO_PIN_SET); // set direction of rotation for wheel B- forward
	HAL_GPIO_WritePin(GPIOA, BIN2_Pin, GPIO_PIN_RESET);
	HAL_GPIO_WritePin(GPIOA, AIN1_Pin, GPIO_PIN_SET); // set direction of rotation for wheel A - forward
	HAL_GPIO_WritePin(GPIOA, AIN2_Pin, GPIO_PIN_RESET);
	osDelay(100); //og 1000

  /* Infinite loop */
  for(;;)
  {
		htim1.Instance->CCR4 = pwmVal_servo;
		double error_angle = target_angle - total_angle;
//		if(aRxBuffer[0] = ' '){
//			pwmVal_L = pwmVal_R = 0;
//
//		}else
			if (pwmVal_servo < 127){ //106 //TURN LEFT
			pwmVal_R = PID_Angle(error_angle, 1)*1.072;  //right is master
			pwmVal_L = pwmVal_R*(0.59); //left is slave

			if(error_angle>0){
				//go forward
				HAL_GPIO_WritePin(GPIOA, AIN1_Pin, GPIO_PIN_SET); // set direction of rotation for wheel A- forward
				HAL_GPIO_WritePin(GPIOA, AIN2_Pin, GPIO_PIN_RESET);
			}
			else{
				//go backward
			    HAL_GPIO_WritePin(GPIOA, AIN1_Pin, GPIO_PIN_RESET); // set direction of rotation for wheel A - reverse
				HAL_GPIO_WritePin(GPIOA, AIN2_Pin, GPIO_PIN_SET);
			}
		}

		else if (pwmVal_servo > 189){ //230 //TURN RIGHT
			pwmVal_L = PID_Angle(error_angle, 0);
			pwmVal_R = pwmVal_L*(0.59); //right is slave

			if(error_angle<0){
				//go forward
				HAL_GPIO_WritePin(GPIOA, BIN1_Pin, GPIO_PIN_SET); // set direction of rotation for wheel B- forward
				HAL_GPIO_WritePin(GPIOA, BIN2_Pin, GPIO_PIN_RESET);
			}
			else{
				//go backward
			    HAL_GPIO_WritePin(GPIOA, BIN1_Pin, GPIO_PIN_RESET); // set direction of rotation for wheel B - reverse
				HAL_GPIO_WritePin(GPIOA, BIN2_Pin, GPIO_PIN_SET);
			}
		}

		else {

			pwmVal_R = PID_Control(leftTarget - leftEncoderVal, 0)*1.072;
			if (abs(leftTarget - leftEncoderVal)>abs(rightTarget - rightEncoderVal)){
				straightCorrection++;
			}else{ straightCorrection--;}
			if (abs(leftTarget - leftEncoderVal)<100){
				straightCorrection=0;
			}
			pwmVal_L = PID_Control(rightTarget - rightEncoderVal, 1)+straightCorrection;

			if ((leftTarget - leftEncoderVal)<0){
				if (error_angle>5){ // if turn left, 106. right 230. left +. right -.
							pwmVal_servo=((19*5)/5 + 149);
						}
						else if(error_angle<-5){
							pwmVal_servo=((-19*5)/5 + 149);
						}else{
							pwmVal_servo=((19*error_angle)/5 + 149);
						}

			}else{
				if (error_angle>5){ // if turn left, 106. right 230. left +. right -.
							pwmVal_servo=((-19*5)/5 + 149);
						}
						else if(error_angle<-5){
							pwmVal_servo=((19*5)/5 + 149);
						}else{
							pwmVal_servo=((-19*error_angle)/5 + 149);
						}
			}

			//line correction equation is pwmVal = (19*error)/5 + 149
		}

		if(e_brake){
			pwmVal_L = pwmVal_R = 0;
			leftTarget = leftEncoderVal;
			rightTarget = rightEncoderVal;
		}

		__HAL_TIM_SetCompare(&htim8,TIM_CHANNEL_1,pwmVal_L);
		__HAL_TIM_SetCompare(&htim8,TIM_CHANNEL_2,pwmVal_R);
		osDelay(1);

		if (times_acceptable>1000){
			times_acceptable=1001;
		}

  }
  /* USER CODE END StartMotorTask */
}

void StartOledTask(void *argument)
{
  /* USER CODE BEGIN StartOledTask */
	uint8_t hello [20] = {0};
	uint8_t clear[20] = {0};
	uint8_t lefty[20] = {0};
	uint8_t righty[20] = {0};
	uint8_t motorD[20] = {0};
	uint8_t check[20] = {0};
	uint8_t debugMsg[20] = "hello\0";

  /* Infinite loop */
  for(;;)
  {

	//sprintf(clear, "L:%d | R:%d     ", (int)(leftTarget - leftEncoderVal), (int)(rightTarget-rightEncoderVal));
	HCSR04_Read();
	sprintf(clear, "US: %d \0", (int)uDistance);
	//testing us
	OLED_ShowString(0, 10, clear);

	//sprintf(righty,"Gyro: %d \0", (int)total_angle);
	int decimals = abs((int)((total_angle-(int)(total_angle))*1000));
	sprintf(righty,"Gyro: %d.%d \0", (int)total_angle, decimals);

	OLED_ShowString(0, 20, righty);

	//sprintf(lefty, "US: %d\0", (int)uDistance);

	sprintf(lefty, "S: %c %c %c%c%c \0", old_Buff1[0], old_Buff1[1], old_Buff1[2], old_Buff1[3], old_Buff1[4]);

	OLED_ShowString(0, 30, lefty);

	sprintf(motorD, "O: %c %c %c%c%c \0", old_Buff[0], old_Buff[1], old_Buff[2], old_Buff[3], old_Buff[4]);
	OLED_ShowString(0, 40, motorD);

	sprintf(check, "K: %c %c %c%c%c \0", aRxBuffer[0], aRxBuffer[1], aRxBuffer[2], aRxBuffer[3], aRxBuffer[4]);
	OLED_ShowString(0, 50, check);

	//memset(clear, 0, 20*sizeof(uint8_t));

	OLED_Refresh_Gram();
	osDelay(10);
  }
  /* USER CODE END StartOledTask */
}

void StartRpiTask(void *argument)
{
  /* USER CODE BEGIN StartRpiTask */
	char ch = 'A';
	char old = ')';
	uint8_t debugMsg[20] = "hello\0";

	int signMagnitude = 1;
  /* Infinite loop */
	  aRxBuffer[0] = '-';
	  aRxBuffer[1] = 'W';
	  aRxBuffer[2] = 'A';
	  aRxBuffer[3] = 'I';
	  aRxBuffer[4] = 'T';
  for(;;)
  {

	  //mutex
	  //while(flagWrite);
	  //flagRead = 1;
//	  if (checkBuffer()==0){
//		  flagRead = 0;
//		  continue;
//	  }

	  magnitude = 0;
	  key = '\0';
	  direction = '\0';

	  key = aRxBuffer[0];
	  direction = aRxBuffer[1];
	  magnitude = ((int)(((int)aRxBuffer[2])-48)*100) + ((int)(((int)aRxBuffer[3])-48)*10) + ((int)(((int)aRxBuffer[4])-48));
	  signMagnitude = 1;

	  if(direction == 'B' || direction == 'b'){
		  magnitude *= (int)-1;
		  signMagnitude = -1;
	  }

	  //if(aRxBuffer[0] != old){
		if (aRxBuffer[0]!='D' & aRxBuffer[4]!='!'){
			old_Buff1[0] = old_Buff[0];
			old_Buff1[1] = old_Buff[1];
			old_Buff1[2] = old_Buff[2];
			old_Buff1[3] = old_Buff[3];
			old_Buff1[4] = old_Buff[4];
		old_Buff[0] = aRxBuffer[0];
		old_Buff[1] = aRxBuffer[1];
		old_Buff[2] = aRxBuffer[2];
		old_Buff[3] = aRxBuffer[3];
		old_Buff[4] = aRxBuffer[4];

		//}

		 //osDelay(500); //og 2000 delay

		  switch (key){
			  case 'D':
				  break;
			  case 'S':
				  times_acceptable=0;
				  moveCarStraight((int)magnitude);
				  while(finishCheck());
				  flagDone=1;
				  aRxBuffer[0] = 'D';
				  aRxBuffer[1] = 'O';
				  aRxBuffer[2] = 'N';
				  aRxBuffer[3] = 'E';
				  aRxBuffer[4] = '!';

				  osDelay(10); //og 100

				  break;
			  case 'R':
				  times_acceptable=0;
				  moveCarRight90((int)magnitude);
				  while(finishCheck());
				  flagDone=1;
				  aRxBuffer[0] = 'D';
				  aRxBuffer[1] = 'O';
				  aRxBuffer[2] = 'N';
				  aRxBuffer[3] = 'E';
				  aRxBuffer[4] = '!';
				  osDelay(10); //og 100

				  break;
			  case 'L':
				  times_acceptable=0;
				  moveCarLeft90((int)magnitude);
				  while(finishCheck());
				  flagDone=1;
				  aRxBuffer[0] = 'D';
				  aRxBuffer[1] = 'O';
				  aRxBuffer[2] = 'N';
				  aRxBuffer[3] = 'E';
				  aRxBuffer[4] = '!';
				  osDelay(10); //og 100

				  break;
			  case 'J':
				  times_acceptable=0;
				  moveCarSlideRight(signMagnitude);
				  while(finishCheck());
				  flagDone=1;
				  aRxBuffer[0] = 'D';
				  aRxBuffer[1] = 'O';
				  aRxBuffer[2] = 'N';
				  aRxBuffer[3] = 'E';
				  aRxBuffer[4] = '!';
				  osDelay(10); //og 100

				  break;
			  case 'K':
				  times_acceptable=0;
				  moveCarSlideLeft(signMagnitude);
				  while(finishCheck());
				  flagDone=1;
				  aRxBuffer[0] = 'D';
				  aRxBuffer[1] = 'O';
				  aRxBuffer[2] = 'N';
				  aRxBuffer[3] = 'E';
				  aRxBuffer[4] = '!';
				  osDelay(10); //og 100

				  break;
		  	  case 'P':
		  		  buzzerBeep();
		  		  flagDone=1;
		  		  times_acceptable=0;
				  aRxBuffer[0] = 'D';
				  aRxBuffer[1] = 'O';
				  aRxBuffer[2] = 'N';
				  aRxBuffer[3] = 'E';
				  aRxBuffer[4] = '!';
				  osDelay(10); //og 100
				  break;
			  default:
				  break;
		  }
		  old = aRxBuffer[0];
	  }

	  // send ack back to rpi and ready for next instruction
		if(flagDone==1){
			osDelay(50); //og 500
			HAL_UART_Transmit(&huart3, (uint8_t *)&ch, 1,0xFFFF);
			flagDone = 0;
		}
		//flagRead = 0;
		osDelay(1);

  }

  /* USER CODE END StartRpiTask */
}

void StartGyroTask(void *argument)
{
  /* USER CODE BEGIN StartGyroTask */
	gyroInit();
	uint8_t val[2] = {0,0};
	int16_t angular_speed = 0;
	uint32_t tick = 0;
	double offset = 0;
	double trash= 0;
	int i=0;

	//calibration phase
	while(i<100){
		osDelay(50);
		readByte(0x37, val);
		angular_speed = (val[0] << 8) | val[1];
		trash +=(double)((double)angular_speed)*((HAL_GetTick() - tick)/16400.0);
		offset += angular_speed;
		tick = HAL_GetTick();
		i++;
	}

	//calculate gyroscope bias(average offset)
	offset = offset/i;
	buzzerBeep();
	tick = HAL_GetTick();

  /* Infinite loop */
  for(;;)
  {
		osDelay(50);
		readByte(0x37, val);
		angular_speed = (val[0] << 8) | val[1];
		//subtract gyroscope bias from measurement to compensate for drift
		total_angle +=(double)((double)angular_speed - offset)*((HAL_GetTick() - tick)/16400.0); //extra calibration +0.00003
		i -= angular_speed;
		tick = HAL_GetTick();
		i++;

//		char hello[50] = {0};
//		double diff = total_angle - old;
//		int decimals = abs((int)((diff-(int)(diff))*10000));
//		int offdeci = abs((int)((offset-(int)(offset))*10000));
//		sprintf(hello,"G%d.%d: %d.%d \0", (int)offset,offdeci,(int)diff, decimals);
//		old = total_angle;
//		HAL_UART_Transmit(&huart3, hello, 20,0xFFFF);
  }
  /* USER CODE END StartGyroTask */
}

void StartBulleyesTask(void *argument)
{
  /* USER CODE BEGIN StartBulleyesTask */
	int i=0;

//	strncpy(instructBuffer[0],"SF080"  , 5);
//	strncpy(instructBuffer[1],"JF000"  , 5);
//	strncpy(instructBuffer[2],"P___2"  , 5);
//	strncpy(instructBuffer[3],"SB040"  , 5);
//	strncpy(instructBuffer[4],"RF090"  , 5);
//	strncpy(instructBuffer[5],"SF010"  , 5);
//	strncpy(instructBuffer[6],"P___6"  , 5);
//	strncpy(instructBuffer[7],"KB000"  , 5);
//	strncpy(instructBuffer[8],"SF020"  , 5);
//	strncpy(instructBuffer[9],"RF090"  , 5);
//	strncpy(instructBuffer[10],"P___5"  , 5);
//	strncpy(instructBuffer[11],"SB020"  , 5);
//	strncpy(instructBuffer[12],"LB090"  , 5);
//	strncpy(instructBuffer[13],"SB030"  , 5);
//	strncpy(instructBuffer[14],"LB090"  , 5);
//	strncpy(instructBuffer[15],"SB050"  , 5);
//	strncpy(instructBuffer[16],"LB090"  , 5);
//	strncpy(instructBuffer[17],"SF010"  , 5);
//	strncpy(instructBuffer[18],"P___3"  , 5);
//	strncpy(instructBuffer[19],"SB020"  , 5);
//	strncpy(instructBuffer[20],"LF090"  , 5);
//	strncpy(instructBuffer[21],"SF020"  , 5);
//	strncpy(instructBuffer[22],"RF090"  , 5);
//	strncpy(instructBuffer[23],"SB010"  , 5);
//	strncpy(instructBuffer[24],"LF090"  , 5);
//	strncpy(instructBuffer[25],"P___1"  , 5);
//	strncpy(instructBuffer[26],"LB090"  , 5);
//	strncpy(instructBuffer[27],"SB030"  , 5);
//	strncpy(instructBuffer[28],"LF090"  , 5);
//	strncpy(instructBuffer[29],"SF010"  , 5);
//	strncpy(instructBuffer[30],"LF090"  , 5);
//	strncpy(instructBuffer[31],"P___0"  , 5);
//
//	strncpy(instructBuffer[0],"RF090"  , 5);
//	strncpy(instructBuffer[1],"SF050"  , 5);
//	strncpy(instructBuffer[2],"LF090"  , 5);
//	strncpy(instructBuffer[3],"SB020"  , 5);
//	strncpy(instructBuffer[4],"LF090"  , 5);
//	strncpy(instructBuffer[5],"P___5"  , 5);
//	strncpy(instructBuffer[6],"SB050"  , 5);
//	strncpy(instructBuffer[7],"RB090"  , 5);
//	strncpy(instructBuffer[8],"SF020"  , 5);
//	strncpy(instructBuffer[9],"P___3"  , 5);
//	strncpy(instructBuffer[10],"SB040"  , 5);
//	strncpy(instructBuffer[11],"JB000"  , 5);
//	strncpy(instructBuffer[12],"RB090"  , 5);
//	strncpy(instructBuffer[13],"SF020"  , 5);
//	strncpy(instructBuffer[14],"P___1"  , 5);
//	strncpy(instructBuffer[15],"RB090"  , 5);
//	strncpy(instructBuffer[16],"KB000"  , 5);
//	strncpy(instructBuffer[17],"KF000"  , 5);
//	strncpy(instructBuffer[18],"P___0"  , 5);
//	strncpy(instructBuffer[19],"SB020"  , 5);
//	strncpy(instructBuffer[20],"LF090"  , 5);
//	strncpy(instructBuffer[21],"SF010"  , 5);
//	strncpy(instructBuffer[22],"LB000"  , 5);
//	strncpy(instructBuffer[23],"SF010"  , 5);
//	strncpy(instructBuffer[24],"LB000"  , 5);
//	strncpy(instructBuffer[25],"P___6"  , 5);
//	strncpy(instructBuffer[26],"SB020"  , 5);
//	strncpy(instructBuffer[27],"RB090"  , 5);
//	strncpy(instructBuffer[28],"SF050"  , 5);
//	strncpy(instructBuffer[29],"P___2"  , 5);

  /* Infinite loop */
  for(;;)
  { osDelay(1000);
  //HCSR04_Read();

//  	  if(i<2){
//
//
//  	  }
//
//
//  	  while (i<50){
//		  aRxBuffer[0] = instructBuffer[i][0];
//		  aRxBuffer[1] = instructBuffer[i][1];
//		  aRxBuffer[2] = instructBuffer[i][2];
//		  aRxBuffer[3] = instructBuffer[i][3];
//		  aRxBuffer[4] = instructBuffer[i][4];
//		  while(aRxBuffer[0] != ' ' || aRxBuffer[0] != 'P');
//		  	  i++;
//  	  }
  }
  /* USER CODE END StartBulleyesTask */
}

void StartEncoderRightTask(void *argument)
{
  /* USER CODE BEGIN StartEncoderRightTask */
	HAL_TIM_Encoder_Start(&htim3,TIM_CHANNEL_ALL);
	int cnt1;
	int dirR = 1;
	int diff;
	uint32_t tick = HAL_GetTick();
  /* Infinite loop */
  for(;;)
  {
		if(HAL_GetTick()-tick > 10L)
		{
			cnt1 = __HAL_TIM_GET_COUNTER(&htim3);
			if(cnt1 > 32000){
				dirR = 1;
				diff = (65536 - cnt1);
			} else {
				dirR = -1;
				diff = cnt1;

			}

			if(dirR == 1){
				rightEncoderVal -= diff;
			} else {
				rightEncoderVal += diff;
			}

			__HAL_TIM_SET_COUNTER(&htim3, 0);

			tick = HAL_GetTick();
		}
  }
  /* USER CODE END StartEncoderRightTask */
}

void StartEncoderLeftTask(void *argument)
{
  /* USER CODE BEGIN StartEncoderLeftTask */
	HAL_TIM_Encoder_Start(&htim2,TIM_CHANNEL_ALL);
	int cnt2;
	int dirL = 1;
	int diff;
	uint32_t tick = HAL_GetTick();
  /* Infinite loop */
  for(;;)
  {
		if(HAL_GetTick()-tick > 10L)
		{
			cnt2 = __HAL_TIM_GET_COUNTER(&htim2);

			if(cnt2 > 32000){
				dirL = 1;
				diff = (65536 - cnt2);
			} else {
				dirL = -1;
				diff = cnt2;
			}
			if(dirL == 1){
				leftEncoderVal += diff;
			} else {
				leftEncoderVal -= diff;
			}

			__HAL_TIM_SET_COUNTER(&htim2, 0);

			tick = HAL_GetTick();
		}
  }

  /* USER CODE END StartEncoderLeftTask */
}

int checkBuffer(){
	if (strlen(aRxBuffer)!=5) return 0;
	if (aRxBuffer[0]!='S' && aRxBuffer[0]!='R' && aRxBuffer[0]!='L' && aRxBuffer[0]!='J' && aRxBuffer[0]!='K') return 0;
	if (aRxBuffer[1]!='F' && aRxBuffer[1]!='B') return 0;
	if (aRxBuffer[2]<48 || aRxBuffer[2]>57) return 0;
	if (aRxBuffer[3]<48 || aRxBuffer[3]>57) return 0;
	if (aRxBuffer[4]<48 || aRxBuffer[4]>57) return 0;
	return 1;
}

void Error_Handler(void)
{
  __disable_irq();
  while (1)
  {
  }
}
